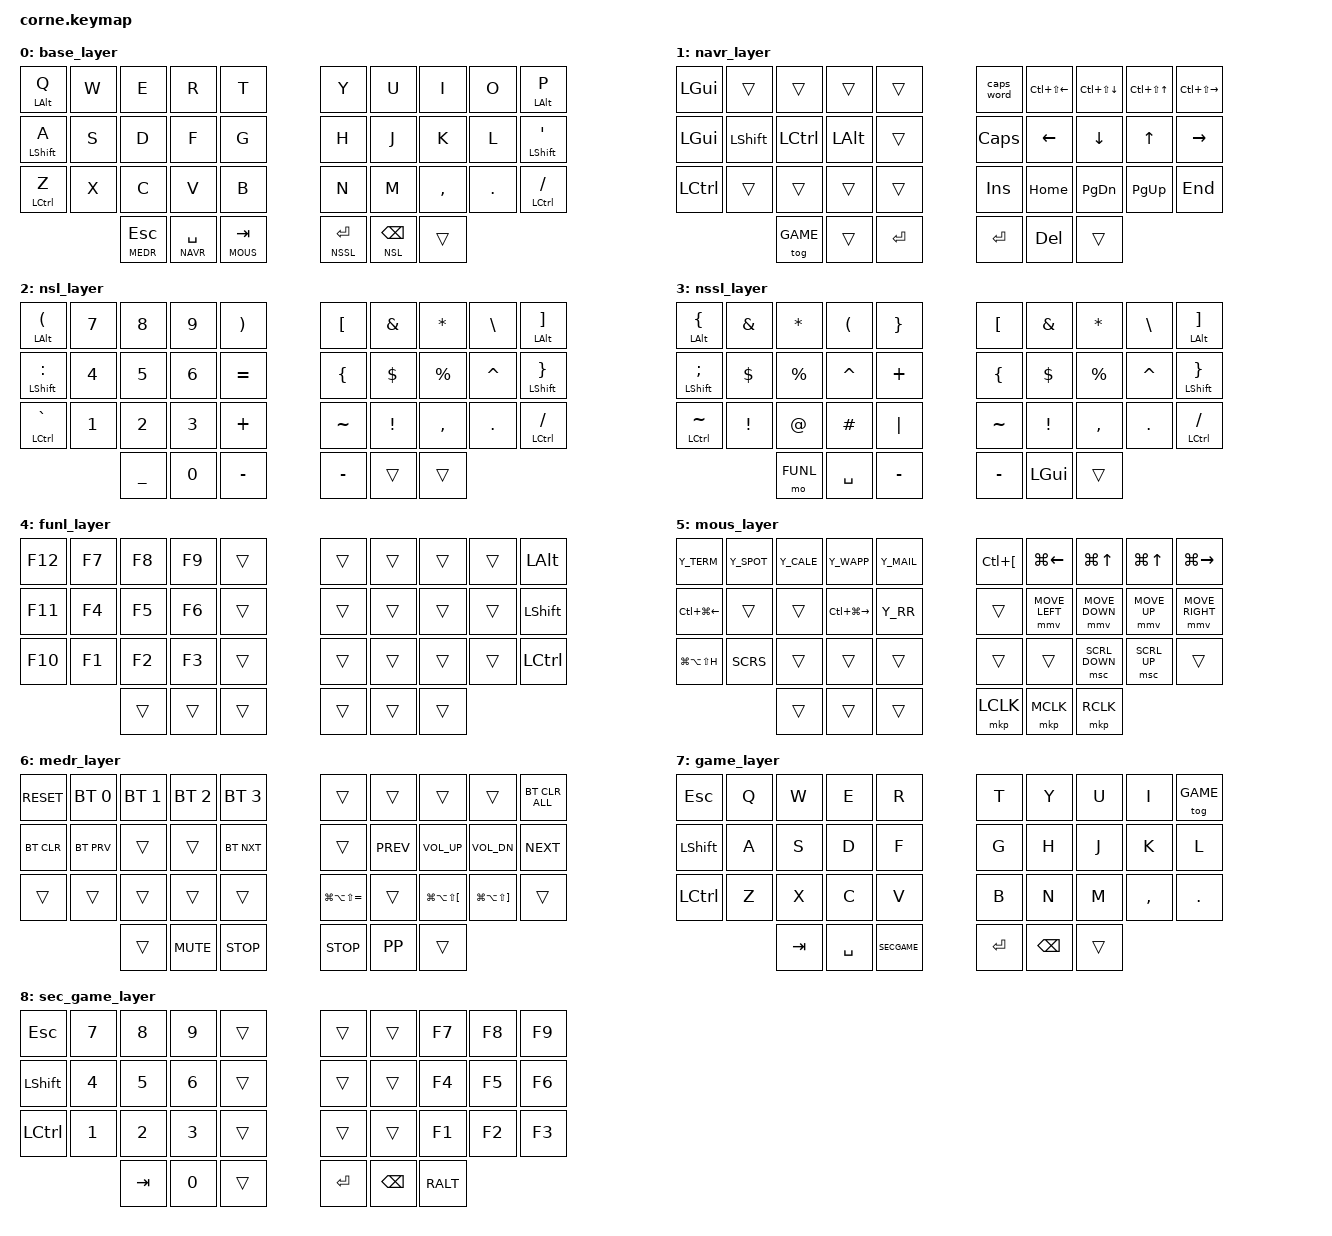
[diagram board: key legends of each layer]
/*
 * Copyright (c) 2020 The ZMK Contributors
 *
 * SPDX-License-Identifier: MIT
 */

#include <behaviors.dtsi>
#include <dt-bindings/zmk/keys.h>
#include <dt-bindings/zmk/bt.h>

#define BASE 0
#define NAVR 1
#define NSL  2
#define NSSL 3
#define FUNL 4
#define MOUS 5
#define MEDR 6
#define GAME 7
#define SECGAME 8

#define RST C_RESET
#define Y_TERM LG(LA(LS(T))) // Yabai: Terminal Scratchpad
#define Y_CALE LG(LA(LS(B))) // Yabai: Calendar Scratchpad
#define Y_SPOT LG(LA(LS(S))) // Yabai: Spotify Scratchpad
#define Y_WAPP LG(LA(LS(F))) // Yabai: Whatsapp Scratchpad
#define Y_MAIL LG(LA(LS(M))) // Yabai: Mail Scratchpad
#define Y_SFW LG(LA(LS(H))) // Yabai: Swap Focused Window to Clockwise Screen
#define Y_RR LC(LS(LA(X))) // Yabai: Make Window Fill Space (One Tap)
#define BCK LC(LBKT) // Navigate Back
#define SL LG(LEFT) // Move a Space Left
#define SR LG(RIGHT) // Move a Space Right
#define MC LG(UP) // Mission Control
#define ST LG(LA(LS(EQL))) // Shade: Toggle On/Off
#define SD LG(LA(LS(LBKT))) // Shade: Brightness Up
#define SU LG(LA(LS(RBKT))) // Shade: Brightness Down
#define THR_R LC(LG(RIGHT)) //Throw the Active Window to the Space to the Right
#define THR_L LC(LG(LEFT)) //Throw the Active Window to the Space to the Right
#define TAB_L LC(LS(LEFT)) // Switch to the Tab to the Left
#define TAB_R LC(LS(RIGHT)) // Switch to the Tab to the Right
#define TAB_U LC(LS(UP)) // Switch to the Tab Above
#define TAB_D LC(LS(DOWN)) // Switch to the Tab Below

&mt {
    tapping-term-ms = <160>;
};

/ {
        behaviors {
                SCRS: tap_dance_1 {
                    compatible = "zmk,behavior-tap-dance";
                    label = "SCRS";
                    #binding-cells = <0>;
                    tapping-term-ms = <200>;
                    bindings = <&kp LG(LS(S))>, <&kp LC(LS(N4))>;  // Screenshot to Clipboard (One Tap) or to Desktop (Two Taps)               
                };
        };

        keymap {
                compatible = "zmk,keymap";

                base_layer {
                        bindings = <
                  &mt LALT Q  &kp W &kp E &kp R &kp T      &kp Y &kp U  &kp I     &kp O   &mt LALT P
                  &mt LSHFT A &kp S &kp D &kp F &kp G      &kp H &kp J  &kp K     &kp L   &mt LSHFT SQT
                  &mt LCTRL Z &kp X &kp C &kp V &kp B      &kp N &kp M  &kp COMMA &kp DOT &mt LCTRL FSLH
             &lt MEDR ESC &lt NAVR SPACE &lt MOUS TAB      &lt NSSL ENTER &lt NSL BSPC &trans
                        >;
                };
                
                navr_layer {
                        bindings = <
        &kp LGUI  &trans    &trans    &trans   &trans      &caps_word &kp TAB_L &kp TAB_D &kp TAB_U &kp TAB_R
        &kp LGUI  &kp LSHFT &kp LCTRL &kp LALT &trans      &kp CLCK   &kp LEFT  &kp DOWN  &kp UP    &kp RIGHT
        &kp LCTRL &trans    &trans    &trans   &trans      &kp INS    &kp HOME  &kp PG_DN &kp PG_UP &kp END
                            &tog GAME &trans   &kp ENTER   &kp ENTER  &kp DEL   &trans
                        >;
                };

                nsl_layer {
                        bindings = <
        &mt LALT LPRN   &kp N7 &kp N8 &kp N9 &kp RPRN       &kp LBKT  &kp AMPS &kp ASTRK &kp BSLH  &mt LALT RBKT
        &mt LSHFT COLON &kp N4 &kp N5 &kp N6 &kp EQUAL      &kp LBRC  &kp DLLR &kp PRCNT &kp CARET &mt LSHFT RBRC 
        &mt LCTRL GRAVE &kp N1 &kp N2 &kp N3 &kp PLUS       &kp TILDE &kp EXCL &kp COMMA &kp DOT   &mt LCTRL SLASH
                            &kp UNDER &kp N0 &kp MINUS      &kp MINUS &trans   &trans
                        >;
                };

                nssl_layer {
                        bindings = <
&mt LALT LBRC   &kp AMPS &kp ASTRK &kp LPAR  &kp RBRC       &kp LBKT  &kp AMPS &kp ASTRK &kp BSLH  &mt LALT RBKT
&mt LSHFT SEMI  &kp DLLR &kp PRCNT &kp CARET &kp PLUS       &kp LBRC  &kp DLLR &kp PRCNT &kp CARET &mt LSHFT RBRC 
&mt LCTRL TILDE &kp EXCL &kp AT    &kp HASH  &kp PIPE       &kp TILDE &kp EXCL &kp COMMA &kp DOT   &mt LCTRL SLASH
                        &mo FUNL  &kp SPACE &kp MINUS       &kp MINUS &kp LGUI &trans
                        >;
                };
                
                funl_layer {
                        bindings = <
                  &kp F12 &kp F7 &kp F8 &kp F9 &trans       &trans &trans &trans &trans &kp LALT
                  &kp F11 &kp F4 &kp F5 &kp F6 &trans       &trans &trans &trans &trans &kp LSHFT
                  &kp F10 &kp F1 &kp F2 &kp F3 &trans       &trans &trans &trans &trans &kp LCTRL
                                 &trans &trans &trans       &trans &trans &trans
                        >;
                };

                mous_layer {
                        bindings = <
          &Y_TERM   &Y_SPOT &Y_CALE &Y_WAPP   &Y_MAIL       &kp BCK &kp SL         &kp MC         &kp MC       &kp SR
          &kp THR_L &trans  &trans  &kp THR_R &Y_RR         &trans  &mmv MOVE_LEFT &mmv MOVE_DOWN &mmv MOVE_UP &mmv MOVE_RIGHT
          &kp Y_SFW &SCRS   &trans  &trans    &trans        &trans  &trans         &msc SCRL_DOWN &msc SCRL_UP &trans
                            &trans  &trans    &trans        &mkp LCLK &mkp MCLK &mkp RCLK
                        >;
                };

                medr_layer {
                        bindings = <
&kp RST &bt BT_SEL 0 &bt BT_SEL 1 &bt BT_SEL 2 &bt BT_SEL 3 &trans &trans     &trans       &trans       &bt BT_CLR_ALL
&bt BT_CLR &bt BT_PRV &trans      &trans       &bt BT_NXT   &trans &kp K_PREV &kp K_VOL_UP &kp K_VOL_DN &kp K_NEXT
&trans     &trans     &trans      &trans       &trans       &kp ST &trans     &kp SD       &kp SU       &trans
                      &trans      &kp K_MUTE   &kp K_STOP   &kp K_STOP &kp K_PP &trans
                        >;
                };
                
                game_layer {
                        bindings = <
                     &kp ESC   &kp Q &kp W &kp E &kp R      &kp T &kp Y &kp U &kp I     &tog GAME
                     &kp LSHFT &kp A &kp S &kp D &kp F      &kp G &kp H &kp J &kp K     &kp L
                     &kp LCTRL &kp Z &kp X &kp C &kp V      &kp B &kp N &kp M &kp COMMA &kp DOT
                         &kp TAB &kp SPACE &kp SECGAME      &kp ENTER &kp BSPC &trans
                        >;
                };
                
                sec_game_layer {
                        bindings = <
                    &kp ESC   &kp 7 &kp 8 &kp 9 &trans      &trans &trans &kp F7 &kp F8 &kp F9
                    &kp LSHFT &kp 4 &kp 5 &kp 6 &trans      &trans &trans &kp F4 &kp F5 &kp F6
                    &kp LCTRL &kp 1 &kp 2 &kp 3 &trans      &trans &trans &kp F1 &kp F2 &kp F3
                                  &kp TAB &kp 0 &trans      &kp ENTER &kp BSPC &RALT
                        >;
                };
        };
};
